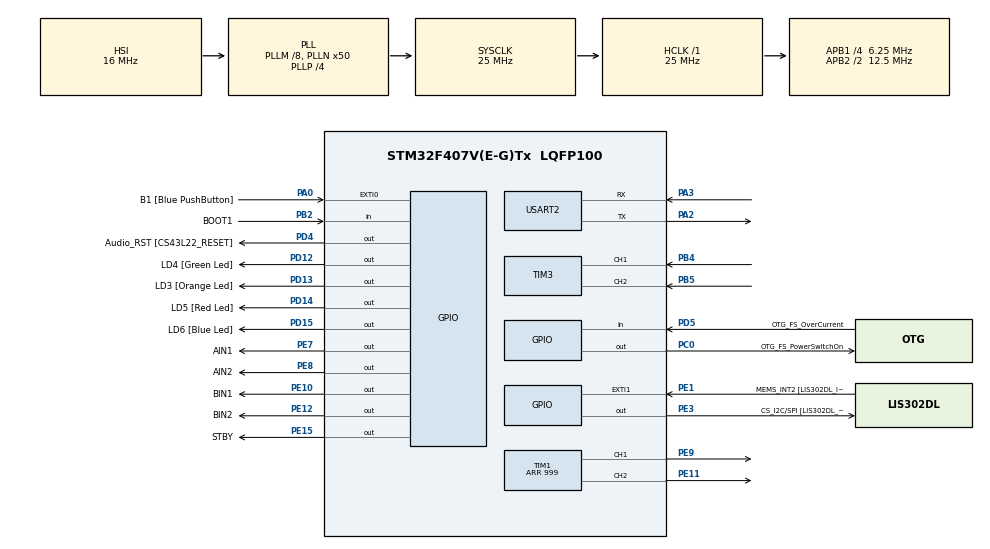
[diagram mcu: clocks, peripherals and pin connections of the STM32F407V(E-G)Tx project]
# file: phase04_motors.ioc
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Mcu.Family=STM32F4
Mcu.Name=STM32F407V(E-G)Tx
Mcu.Package=LQFP100
NVIC.PriorityGroup=NVIC_PRIORITYGROUP_0
PA0-WKUP.GPIO_Label=B1 [Blue PushButton]
PA0-WKUP.Signal=GPXTI0
PA10.GPIO_Label=OTG_FS_ID
PA10.GPIO_Mode=GPIO_MODE_AF_PP
PA10.GPIO_PuPd=GPIO_NOPULL
PA10.GPIO_Speed=GPIO_SPEED_FREQ_LOW
PA10.Signal=USB_OTG_FS_ID
PA11.GPIO_Label=OTG_FS_DM
PA11.GPIO_Mode=GPIO_MODE_AF_PP
PA11.GPIO_PuPd=GPIO_NOPULL
PA11.GPIO_Speed=GPIO_SPEED_FREQ_LOW
PA11.Signal=USB_OTG_FS_DM
PA12.GPIO_Label=OTG_FS_DP
PA12.GPIO_Mode=GPIO_MODE_AF_PP
PA12.GPIO_PuPd=GPIO_NOPULL
PA12.GPIO_Speed=GPIO_SPEED_FREQ_LOW
PA12.Signal=USB_OTG_FS_DP
PA13.GPIO_Label=SWDIO
PA13.Signal=SYS_JTMS-SWDIO
PA14.GPIO_Label=SWCLK
PA14.Signal=SYS_JTCK-SWCLK
PA2.Mode=Asynchronous
PA2.Signal=USART2_TX
PA3.Mode=Asynchronous
PA3.Signal=USART2_RX
PA4.GPIO_Label=I2S3_WS [CS43L22_LRCK]
PA4.GPIO_Mode=GPIO_MODE_AF_PP
PA4.GPIO_PuPd=GPIO_NOPULL
PA4.GPIO_Speed=GPIO_SPEED_FREQ_LOW
PA4.Signal=I2S3_WS
PA5.GPIO_Label=SPI1_SCK [LIS302DL_SCL/SPC]
PA5.GPIO_Mode=GPIO_MODE_AF_PP
PA5.GPIO_PuPd=GPIO_NOPULL
PA5.GPIO_Speed=GPIO_SPEED_FREQ_LOW
PA5.Signal=SPI1_SCK
PA6.GPIO_Label=SPI1_MISO [LIS302DL_SDO]
PA6.GPIO_Mode=GPIO_MODE_AF_PP
PA6.GPIO_PuPd=GPIO_NOPULL
PA6.GPIO_Speed=GPIO_SPEED_FREQ_LOW
PA6.Signal=SPI1_MISO
PA7.GPIO_Label=SPI1_MOSI [LIS302DL_SDA/SDI/SDO]
PA7.GPIO_Mode=GPIO_MODE_AF_PP
PA7.GPIO_PuPd=GPIO_NOPULL
PA7.GPIO_Speed=GPIO_SPEED_FREQ_LOW
PA7.Signal=SPI1_MOSI
PA9.GPIO_Label=VBUS_FS
PA9.GPIO_Mode=GPIO_MODE_INPUT
PA9.GPIO_PuPd=GPIO_NOPULL
PA9.Signal=USB_OTG_FS_VBUS
PB10.GPIO_Label=CLK_IN [MP45DT02_CLK]
PB10.GPIO_Mode=GPIO_MODE_AF_PP
PB10.GPIO_PuPd=GPIO_NOPULL
PB10.GPIO_Speed=GPIO_SPEED_FREQ_LOW
PB10.Signal=I2S2_CK
PB2.GPIO_Label=BOOT1
PB2.GPIO_Mode=GPIO_MODE_INPUT
PB2.GPIO_PuPd=GPIO_NOPULL
PB2.Signal=GPIO_Input
PB3.GPIO_Label=SWO
PB3.Signal=SYS_JTDO-SWO
PB4.Signal=S_TIM3_CH1
PB5.Signal=S_TIM3_CH2
PB6.GPIO_Label=Audio_SCL [CS43L22_SCL]
PB6.GPIO_Mode=GPIO_MODE_AF_OD
PB6.GPIO_PuPd=GPIO_NOPULL
PB6.GPIO_Speed=GPIO_SPEED_FREQ_LOW
PB6.Signal=I2C1_SCL
PB9.GPIO_Label=Audio_SDA [CS43L22_SDA]
PB9.GPIO_Mode=GPIO_MODE_AF_OD
PB9.GPIO_PuPd=GPIO_NOPULL
PB9.GPIO_Speed=GPIO_SPEED_FREQ_LOW
PB9.Signal=I2C1_SDA
PC0.GPIO_Label=OTG_FS_PowerSwitchOn
PC0.GPIO_PuPd=GPIO_NOPULL
PC0.GPIO_Speed=GPIO_SPEED_FREQ_LOW
PC0.PinState=GPIO_PIN_SET
PC0.Signal=GPIO_Output
PC10.GPIO_Label=I2S3_SCK [CS43L22_SCLK]
PC10.GPIO_Mode=GPIO_MODE_AF_PP
PC10.GPIO_PuPd=GPIO_NOPULL
PC10.GPIO_Speed=GPIO_SPEED_FREQ_LOW
PC10.Signal=I2S3_CK
PC12.GPIO_Label=I2S3_SD [CS43L22_SDIN]
PC12.GPIO_Mode=GPIO_MODE_AF_PP
PC12.GPIO_PuPd=GPIO_NOPULL
PC12.GPIO_Speed=GPIO_SPEED_FREQ_LOW
PC12.Signal=I2S3_SD
PC14-OSC32_IN.GPIO_Label=PC14-OSC32_IN
PC14-OSC32_IN.Signal=RCC_OSC32_IN
PC15-OSC32_OUT.GPIO_Label=PC15-OSC32_OUT
PC15-OSC32_OUT.Signal=RCC_OSC32_OUT
PC3.GPIO_Label=PDM_OUT [MP45DT02_DOUT]
PC3.GPIO_Mode=GPIO_MODE_AF_PP
PC3.GPIO_PuPd=GPIO_NOPULL
PC3.GPIO_Speed=GPIO_SPEED_FREQ_LOW
PC3.Signal=I2S2_SD
PC7.GPIO_Label=I2S3_MCK [CS43L22_MCLK]
PC7.GPIO_Mode=GPIO_MODE_AF_PP
PC7.GPIO_PuPd=GPIO_NOPULL
PC7.GPIO_Speed=GPIO_SPEED_FREQ_LOW
PC7.Signal=I2S3_MCK
PD12.GPIO_Label=LD4 [Green Led]
PD12.GPIO_PuPd=GPIO_NOPULL
PD12.GPIO_Speed=GPIO_SPEED_FREQ_LOW
PD12.Signal=GPIO_Output
PD13.GPIO_Label=LD3 [Orange Led]
PD13.GPIO_PuPd=GPIO_NOPULL
PD13.GPIO_Speed=GPIO_SPEED_FREQ_LOW
PD13.Signal=GPIO_Output
PD14.GPIO_Label=LD5 [Red Led]
PD14.GPIO_PuPd=GPIO_NOPULL
PD14.GPIO_Speed=GPIO_SPEED_FREQ_LOW
PD14.Signal=GPIO_Output
PD15.GPIO_Label=LD6 [Blue Led]
PD15.GPIO_PuPd=GPIO_NOPULL
PD15.GPIO_Speed=GPIO_SPEED_FREQ_LOW
PD15.Signal=GPIO_Output
PD4.GPIO_Label=Audio_RST [CS43L22_RESET]
PD4.GPIO_PuPd=GPIO_NOPULL
PD4.GPIO_Speed=GPIO_SPEED_FREQ_LOW
PD4.Signal=GPIO_Output
PD5.GPIO_Label=OTG_FS_OverCurrent
PD5.GPIO_Mode=GPIO_MODE_INPUT
PD5.GPIO_PuPd=GPIO_NOPULL
PD5.Signal=GPIO_Input
PE1.GPIO_Label=MEMS_INT2 [LIS302DL_INT2]
PE1.GPIO_ModeDefaultEXTI=GPIO_MODE_EVT_RISING
PE1.GPIO_PuPd=GPIO_NOPULL
PE1.Signal=GPXTI1
PE10.GPIO_Label=BIN1
PE10.Signal=GPIO_Output
PE11.Signal=S_TIM1_CH2
PE12.GPIO_Label=BIN2
PE12.Signal=GPIO_Output
PE15.GPIO_Label=STBY
PE15.Signal=GPIO_Output
PE3.GPIO_Label=CS_I2C/SPI [LIS302DL_CS_I2C/SPI]
PE3.GPIO_PuPd=GPIO_NOPULL
PE3.GPIO_Speed=GPIO_SPEED_FREQ_LOW
PE3.Signal=GPIO_Output
PE7.GPIO_Label=AIN1
PE7.Signal=GPIO_Output
PE8.GPIO_Label=AIN2
PE8.Signal=GPIO_Output
PE9.Signal=S_TIM1_CH1
PH0-OSC_IN.GPIO_Label=PH0-OSC_IN
PH0-OSC_IN.Signal=RCC_OSC_IN
PH1-OSC_OUT.GPIO_Label=PH1-OSC_OUT
PH1-OSC_OUT.Signal=RCC_OSC_OUT
ProjectManager.HeapSize=0x200
ProjectManager.StackSize=0x400
ProjectManager.TargetToolchain=STM32CubeIDE
RCC.48MHZClocksFreq_Value=14285714.285714285
RCC.AHBFreq_Value=25000000
RCC.APB1CLKDivider=RCC_HCLK_DIV4
RCC.APB1Freq_Value=6250000
RCC.APB1TimFreq_Value=12500000
RCC.APB2CLKDivider=RCC_HCLK_DIV2
RCC.APB2Freq_Value=12500000
RCC.APB2TimFreq_Value=25000000
RCC.CortexFreq_Value=25000000
RCC.HCLKFreq_Value=25000000
RCC.HSE_VALUE=8000000
RCC.HSI_VALUE=16000000
RCC.LSE_VALUE=32768
RCC.PLLM=8
RCC.PLLN=50
RCC.PLLP=RCC_PLLP_DIV4
RCC.PLLQ=7
RCC.SYSCLKFreq_VALUE=25000000
RCC.SYSCLKSource=RCC_SYSCLKSOURCE_PLLCLK
RCC.VCOOutputFreq_Value=100000000
SH.S_TIM1_CH1.0=TIM1_CH1,PWM Generation1 CH1
SH.S_TIM1_CH2.0=TIM1_CH2,PWM Generation2 CH2
SH.S_TIM3_CH1.0=TIM3_CH1,Encoder_Interface
SH.S_TIM3_CH2.0=TIM3_CH2,Encoder_Interface
TIM1.Channel-PWM\ Generation1\ CH1=TIM_CHANNEL_1
TIM1.Channel-PWM\ Generation2\ CH2=TIM_CHANNEL_2
TIM1.Period=999
TIM3.EncoderMode=TIM_ENCODERMODE_TI12
USART2.VirtualMode=VM_ASYNC
board=STM32F407G-DISC1

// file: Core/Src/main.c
/* USER CODE BEGIN Header */
/**
  ******************************************************************************
  * @file           : main.c
  * @brief          : Main program body
  ******************************************************************************
  * @attention
  *
  * Copyright (c) 2026 STMicroelectronics.
  * All rights reserved.
  *
  * This software is licensed under terms that can be found in the LICENSE file
  * in the root directory of this software component.
  * If no LICENSE file comes with this software, it is provided AS-IS.
  *
  ******************************************************************************
  */
/* USER CODE END Header */
#include "main.h"

/* USER CODE BEGIN Includes */
#include <stdio.h>
#include <string.h>
/* USER CODE END Includes */

TIM_HandleTypeDef htim1;
TIM_HandleTypeDef htim3;

UART_HandleTypeDef huart2;

void SystemClock_Config(void);
static void MX_GPIO_Init(void);
static void MX_TIM1_Init(void);
static void MX_TIM3_Init(void);
static void MX_USART2_UART_Init(void);

/* USER CODE BEGIN 0 */
// speed: -999..+999  (sign = direction, magnitude = PWM duty)
void motorA(int speed) {
    if (speed >= 0) {
        HAL_GPIO_WritePin(AIN1_GPIO_Port, AIN1_Pin, GPIO_PIN_SET);
        HAL_GPIO_WritePin(AIN2_GPIO_Port, AIN2_Pin, GPIO_PIN_RESET);
    } else {
        HAL_GPIO_WritePin(AIN1_GPIO_Port, AIN1_Pin, GPIO_PIN_RESET);
        HAL_GPIO_WritePin(AIN2_GPIO_Port, AIN2_Pin, GPIO_PIN_SET);
        speed = -speed;
    }
    if (speed > 999) speed = 999;
    __HAL_TIM_SET_COMPARE(&htim1, TIM_CHANNEL_1, speed);
}
void motorB(int speed) {
    if (speed >= 0) {
        HAL_GPIO_WritePin(BIN1_GPIO_Port, BIN1_Pin, GPIO_PIN_SET);
        HAL_GPIO_WritePin(BIN2_GPIO_Port, BIN2_Pin, GPIO_PIN_RESET);
    } else {
        HAL_GPIO_WritePin(BIN1_GPIO_Port, BIN1_Pin, GPIO_PIN_RESET);
        HAL_GPIO_WritePin(BIN2_GPIO_Port, BIN2_Pin, GPIO_PIN_SET);
        speed = -speed;
    }
    if (speed > 999) speed = 999;
    __HAL_TIM_SET_COMPARE(&htim1, TIM_CHANNEL_2, speed);
}
/* USER CODE END 0 */

int main(void)
{

  /* MCU Configuration--------------------------------------------------------*/

  /* Reset of all peripherals, Initializes the Flash interface and the Systick. */
  HAL_Init();

  /* Configure the system clock */
  SystemClock_Config();

  /* Initialize all configured peripherals */
  MX_GPIO_Init();
  MX_TIM1_Init();
  MX_TIM3_Init();
  MX_USART2_UART_Init();
  /* USER CODE BEGIN 2 */
  HAL_GPIO_WritePin(STBY_GPIO_Port, STBY_Pin, GPIO_PIN_SET);   // enable driver (critical!)
  HAL_TIM_PWM_Start(&htim1, TIM_CHANNEL_1);                    // PWM A
  HAL_TIM_PWM_Start(&htim1, TIM_CHANNEL_2);                    // PWM B
  HAL_TIM_Encoder_Start(&htim3, TIM_CHANNEL_ALL);              // encoder A counting
  char line[48];
  /* USER CODE END 2 */

  /* Infinite loop */
  while (1)
  {

    /* USER CODE BEGIN 3 */
    // forward ~2 s, printing every 200 ms
    motorA(300); motorB(300);
    for (int i = 0; i < 10; i++) {
        int16_t c = (int16_t)__HAL_TIM_GET_COUNTER(&htim3);
        sprintf(line, "FWD ENC: %d\r\n", c);
        HAL_UART_Transmit(&huart2, (uint8_t*)line, strlen(line), 100);
        HAL_Delay(200);
    }

    motorA(0); motorB(0); HAL_Delay(1000);   // stop

    // reverse ~2 s, printing every 200 ms
    motorA(-300); motorB(-300);
    for (int i = 0; i < 10; i++) {
        int16_t c = (int16_t)__HAL_TIM_GET_COUNTER(&htim3);
        sprintf(line, "REV ENC: %d\r\n", c);
        HAL_UART_Transmit(&huart2, (uint8_t*)line, strlen(line), 100);
        HAL_Delay(200);
    }

    motorA(0); motorB(0); HAL_Delay(1000);   // stop
  }
  /* USER CODE END 3 */
}
void SystemClock_Config(void)
{
  RCC_OscInitTypeDef RCC_OscInitStruct = {0};
  RCC_ClkInitTypeDef RCC_ClkInitStruct = {0};

  /** Configure the main internal regulator output voltage
  */
  __HAL_RCC_PWR_CLK_ENABLE();
  __HAL_PWR_VOLTAGESCALING_CONFIG(PWR_REGULATOR_VOLTAGE_SCALE1);

  /** Initializes the RCC Oscillators according to the specified parameters
  * in the RCC_OscInitTypeDef structure.
  */
  RCC_OscInitStruct.OscillatorType = RCC_OSCILLATORTYPE_HSI;
  RCC_OscInitStruct.HSIState = RCC_HSI_ON;
  RCC_OscInitStruct.HSICalibrationValue = RCC_HSICALIBRATION_DEFAULT;
  RCC_OscInitStruct.PLL.PLLState = RCC_PLL_ON;
  RCC_OscInitStruct.PLL.PLLSource = RCC_PLLSOURCE_HSI;
  RCC_OscInitStruct.PLL.PLLM = 8;
  RCC_OscInitStruct.PLL.PLLN = 50;
  RCC_OscInitStruct.PLL.PLLP = RCC_PLLP_DIV4;
  RCC_OscInitStruct.PLL.PLLQ = 7;
  if (HAL_RCC_OscConfig(&RCC_OscInitStruct) != HAL_OK)
  {
    Error_Handler();
  }

  /** Initializes the CPU, AHB and APB buses clocks
  */
  RCC_ClkInitStruct.ClockType = RCC_CLOCKTYPE_HCLK|RCC_CLOCKTYPE_SYSCLK
                              |RCC_CLOCKTYPE_PCLK1|RCC_CLOCKTYPE_PCLK2;
  RCC_ClkInitStruct.SYSCLKSource = RCC_SYSCLKSOURCE_PLLCLK;
  RCC_ClkInitStruct.AHBCLKDivider = RCC_SYSCLK_DIV1;
  RCC_ClkInitStruct.APB1CLKDivider = RCC_HCLK_DIV4;
  RCC_ClkInitStruct.APB2CLKDivider = RCC_HCLK_DIV2;

  if (HAL_RCC_ClockConfig(&RCC_ClkInitStruct, FLASH_LATENCY_0) != HAL_OK)
  {
    Error_Handler();
  }
}

static void MX_TIM1_Init(void)
{

  TIM_MasterConfigTypeDef sMasterConfig = {0};
  TIM_OC_InitTypeDef sConfigOC = {0};
  TIM_BreakDeadTimeConfigTypeDef sBreakDeadTimeConfig = {0};

  htim1.Instance = TIM1;
  htim1.Init.Prescaler = 0;
  htim1.Init.CounterMode = TIM_COUNTERMODE_UP;
  htim1.Init.Period = 999;
  htim1.Init.ClockDivision = TIM_CLOCKDIVISION_DIV1;
  htim1.Init.RepetitionCounter = 0;
  htim1.Init.AutoReloadPreload = TIM_AUTORELOAD_PRELOAD_DISABLE;
  if (HAL_TIM_PWM_Init(&htim1) != HAL_OK)
  {
    Error_Handler();
  }
  sMasterConfig.MasterOutputTrigger = TIM_TRGO_RESET;
  sMasterConfig.MasterSlaveMode = TIM_MASTERSLAVEMODE_DISABLE;
  if (HAL_TIMEx_MasterConfigSynchronization(&htim1, &sMasterConfig) != HAL_OK)
  {
    Error_Handler();
  }
  sConfigOC.OCMode = TIM_OCMODE_PWM1;
  sConfigOC.Pulse = 0;
  sConfigOC.OCPolarity = TIM_OCPOLARITY_HIGH;
  sConfigOC.OCNPolarity = TIM_OCNPOLARITY_HIGH;
  sConfigOC.OCFastMode = TIM_OCFAST_DISABLE;
  sConfigOC.OCIdleState = TIM_OCIDLESTATE_RESET;
  sConfigOC.OCNIdleState = TIM_OCNIDLESTATE_RESET;
  if (HAL_TIM_PWM_ConfigChannel(&htim1, &sConfigOC, TIM_CHANNEL_1) != HAL_OK)
  {
    Error_Handler();
  }
  if (HAL_TIM_PWM_ConfigChannel(&htim1, &sConfigOC, TIM_CHANNEL_2) != HAL_OK)
  {
    Error_Handler();
  }
  sBreakDeadTimeConfig.OffStateRunMode = TIM_OSSR_DISABLE;
  sBreakDeadTimeConfig.OffStateIDLEMode = TIM_OSSI_DISABLE;
  sBreakDeadTimeConfig.LockLevel = TIM_LOCKLEVEL_OFF;
  sBreakDeadTimeConfig.DeadTime = 0;
  sBreakDeadTimeConfig.BreakState = TIM_BREAK_DISABLE;
  sBreakDeadTimeConfig.BreakPolarity = TIM_BREAKPOLARITY_HIGH;
  sBreakDeadTimeConfig.AutomaticOutput = TIM_AUTOMATICOUTPUT_DISABLE;
  if (HAL_TIMEx_ConfigBreakDeadTime(&htim1, &sBreakDeadTimeConfig) != HAL_OK)
  {
    Error_Handler();
  }
  HAL_TIM_MspPostInit(&htim1);

}

static void MX_TIM3_Init(void)
{

  TIM_Encoder_InitTypeDef sConfig = {0};
  TIM_MasterConfigTypeDef sMasterConfig = {0};

  htim3.Instance = TIM3;
  htim3.Init.Prescaler = 0;
  htim3.Init.CounterMode = TIM_COUNTERMODE_UP;
  htim3.Init.Period = 65535;
  htim3.Init.ClockDivision = TIM_CLOCKDIVISION_DIV1;
  htim3.Init.AutoReloadPreload = TIM_AUTORELOAD_PRELOAD_DISABLE;
  sConfig.EncoderMode = TIM_ENCODERMODE_TI12;
  sConfig.IC1Polarity = TIM_ICPOLARITY_RISING;
  sConfig.IC1Selection = TIM_ICSELECTION_DIRECTTI;
  sConfig.IC1Prescaler = TIM_ICPSC_DIV1;
  sConfig.IC1Filter = 0;
  sConfig.IC2Polarity = TIM_ICPOLARITY_RISING;
  sConfig.IC2Selection = TIM_ICSELECTION_DIRECTTI;
  sConfig.IC2Prescaler = TIM_ICPSC_DIV1;
  sConfig.IC2Filter = 0;
  if (HAL_TIM_Encoder_Init(&htim3, &sConfig) != HAL_OK)
  {
    Error_Handler();
  }
  sMasterConfig.MasterOutputTrigger = TIM_TRGO_RESET;
  sMasterConfig.MasterSlaveMode = TIM_MASTERSLAVEMODE_DISABLE;
  if (HAL_TIMEx_MasterConfigSynchronization(&htim3, &sMasterConfig) != HAL_OK)
  {
    Error_Handler();
  }

}

static void MX_USART2_UART_Init(void)
{

  huart2.Instance = USART2;
  huart2.Init.BaudRate = 115200;
  huart2.Init.WordLength = UART_WORDLENGTH_8B;
  huart2.Init.StopBits = UART_STOPBITS_1;
  huart2.Init.Parity = UART_PARITY_NONE;
  huart2.Init.Mode = UART_MODE_TX_RX;
  huart2.Init.HwFlowCtl = UART_HWCONTROL_NONE;
  huart2.Init.OverSampling = UART_OVERSAMPLING_16;
  if (HAL_UART_Init(&huart2) != HAL_OK)
  {
    Error_Handler();
  }

}

static void MX_GPIO_Init(void)
{
  GPIO_InitTypeDef GPIO_InitStruct = {0};

  /* GPIO Ports Clock Enable */
  __HAL_RCC_GPIOE_CLK_ENABLE();
  __HAL_RCC_GPIOC_CLK_ENABLE();
  __HAL_RCC_GPIOH_CLK_ENABLE();
  __HAL_RCC_GPIOA_CLK_ENABLE();
  __HAL_RCC_GPIOB_CLK_ENABLE();
  __HAL_RCC_GPIOD_CLK_ENABLE();

  /*Configure GPIO pin Output Level */
  HAL_GPIO_WritePin(GPIOE, CS_I2C_SPI_Pin|AIN1_Pin|AIN2_Pin|BIN1_Pin
                          |BIN2_Pin|STBY_Pin, GPIO_PIN_RESET);

  /*Configure GPIO pin Output Level */
  HAL_GPIO_WritePin(OTG_FS_PowerSwitchOn_GPIO_Port, OTG_FS_PowerSwitchOn_Pin, GPIO_PIN_SET);

  /*Configure GPIO pin Output Level */
  HAL_GPIO_WritePin(GPIOD, LD4_Pin|LD3_Pin|LD5_Pin|LD6_Pin
                          |Audio_RST_Pin, GPIO_PIN_RESET);

  /*Configure GPIO pins : CS_I2C_SPI_Pin AIN1_Pin AIN2_Pin BIN1_Pin
                           BIN2_Pin STBY_Pin */
  GPIO_InitStruct.Pin = CS_I2C_SPI_Pin|AIN1_Pin|AIN2_Pin|BIN1_Pin
                          |BIN2_Pin|STBY_Pin;
  GPIO_InitStruct.Mode = GPIO_MODE_OUTPUT_PP;
  GPIO_InitStruct.Pull = GPIO_NOPULL;
  GPIO_InitStruct.Speed = GPIO_SPEED_FREQ_LOW;
  HAL_GPIO_Init(GPIOE, &GPIO_InitStruct);

  /*Configure GPIO pin : OTG_FS_PowerSwitchOn_Pin */
  GPIO_InitStruct.Pin = OTG_FS_PowerSwitchOn_Pin;
  GPIO_InitStruct.Mode = GPIO_MODE_OUTPUT_PP;
  GPIO_InitStruct.Pull = GPIO_NOPULL;
  GPIO_InitStruct.Speed = GPIO_SPEED_FREQ_LOW;
  HAL_GPIO_Init(OTG_FS_PowerSwitchOn_GPIO_Port, &GPIO_InitStruct);

  /*Configure GPIO pin : PDM_OUT_Pin */
  GPIO_InitStruct.Pin = PDM_OUT_Pin;
  GPIO_InitStruct.Mode = GPIO_MODE_AF_PP;
  GPIO_InitStruct.Pull = GPIO_NOPULL;
  GPIO_InitStruct.Speed = GPIO_SPEED_FREQ_LOW;
  GPIO_InitStruct.Alternate = GPIO_AF5_SPI2;
  HAL_GPIO_Init(PDM_OUT_GPIO_Port, &GPIO_InitStruct);

  /*Configure GPIO pin : B1_Pin */
  GPIO_InitStruct.Pin = B1_Pin;
  GPIO_InitStruct.Mode = GPIO_MODE_IT_RISING;
  GPIO_InitStruct.Pull = GPIO_NOPULL;
  HAL_GPIO_Init(B1_GPIO_Port, &GPIO_InitStruct);

  /*Configure GPIO pin : I2S3_WS_Pin */
  GPIO_InitStruct.Pin = I2S3_WS_Pin;
  GPIO_InitStruct.Mode = GPIO_MODE_AF_PP;
  GPIO_InitStruct.Pull = GPIO_NOPULL;
  GPIO_InitStruct.Speed = GPIO_SPEED_FREQ_LOW;
  GPIO_InitStruct.Alternate = GPIO_AF6_SPI3;
  HAL_GPIO_Init(I2S3_WS_GPIO_Port, &GPIO_InitStruct);

  /*Configure GPIO pins : SPI1_SCK_Pin SPI1_MISO_Pin SPI1_MOSI_Pin */
  GPIO_InitStruct.Pin = SPI1_SCK_Pin|SPI1_MISO_Pin|SPI1_MOSI_Pin;
  GPIO_InitStruct.Mode = GPIO_MODE_AF_PP;
  GPIO_InitStruct.Pull = GPIO_NOPULL;
  GPIO_InitStruct.Speed = GPIO_SPEED_FREQ_LOW;
  GPIO_InitStruct.Alternate = GPIO_AF5_SPI1;
  HAL_GPIO_Init(GPIOA, &GPIO_InitStruct);

  /*Configure GPIO pin : BOOT1_Pin */
  GPIO_InitStruct.Pin = BOOT1_Pin;
  GPIO_InitStruct.Mode = GPIO_MODE_INPUT;
  GPIO_InitStruct.Pull = GPIO_NOPULL;
  HAL_GPIO_Init(BOOT1_GPIO_Port, &GPIO_InitStruct);

  /*Configure GPIO pin : CLK_IN_Pin */
  GPIO_InitStruct.Pin = CLK_IN_Pin;
  GPIO_InitStruct.Mode = GPIO_MODE_AF_PP;
  GPIO_InitStruct.Pull = GPIO_NOPULL;
  GPIO_InitStruct.Speed = GPIO_SPEED_FREQ_LOW;
  GPIO_InitStruct.Alternate = GPIO_AF5_SPI2;
  HAL_GPIO_Init(CLK_IN_GPIO_Port, &GPIO_InitStruct);

  /*Configure GPIO pins : LD4_Pin LD3_Pin LD5_Pin LD6_Pin
                           Audio_RST_Pin */
  GPIO_InitStruct.Pin = LD4_Pin|LD3_Pin|LD5_Pin|LD6_Pin
                          |Audio_RST_Pin;
  GPIO_InitStruct.Mode = GPIO_MODE_OUTPUT_PP;
  GPIO_InitStruct.Pull = GPIO_NOPULL;
  GPIO_InitStruct.Speed = GPIO_SPEED_FREQ_LOW;
  HAL_GPIO_Init(GPIOD, &GPIO_InitStruct);

  /*Configure GPIO pins : I2S3_MCK_Pin I2S3_SCK_Pin I2S3_SD_Pin */
  GPIO_InitStruct.Pin = I2S3_MCK_Pin|I2S3_SCK_Pin|I2S3_SD_Pin;
  GPIO_InitStruct.Mode = GPIO_MODE_AF_PP;
  GPIO_InitStruct.Pull = GPIO_NOPULL;
  GPIO_InitStruct.Speed = GPIO_SPEED_FREQ_LOW;
  GPIO_InitStruct.Alternate = GPIO_AF6_SPI3;
  HAL_GPIO_Init(GPIOC, &GPIO_InitStruct);

  /*Configure GPIO pin : VBUS_FS_Pin */
  GPIO_InitStruct.Pin = VBUS_FS_Pin;
  GPIO_InitStruct.Mode = GPIO_MODE_INPUT;
  GPIO_InitStruct.Pull = GPIO_NOPULL;
  HAL_GPIO_Init(VBUS_FS_GPIO_Port, &GPIO_InitStruct);

  /*Configure GPIO pins : OTG_FS_ID_Pin OTG_FS_DM_Pin OTG_FS_DP_Pin */
  GPIO_InitStruct.Pin = OTG_FS_ID_Pin|OTG_FS_DM_Pin|OTG_FS_DP_Pin;
  GPIO_InitStruct.Mode = GPIO_MODE_AF_PP;
  GPIO_InitStruct.Pull = GPIO_NOPULL;
  GPIO_InitStruct.Speed = GPIO_SPEED_FREQ_LOW;
  GPIO_InitStruct.Alternate = GPIO_AF10_OTG_FS;
  HAL_GPIO_Init(GPIOA, &GPIO_InitStruct);

  /*Configure GPIO pin : OTG_FS_OverCurrent_Pin */
  GPIO_InitStruct.Pin = OTG_FS_OverCurrent_Pin;
  GPIO_InitStruct.Mode = GPIO_MODE_INPUT;
  GPIO_InitStruct.Pull = GPIO_NOPULL;
  HAL_GPIO_Init(OTG_FS_OverCurrent_GPIO_Port, &GPIO_InitStruct);

  /*Configure GPIO pins : Audio_SCL_Pin Audio_SDA_Pin */
  GPIO_InitStruct.Pin = Audio_SCL_Pin|Audio_SDA_Pin;
  GPIO_InitStruct.Mode = GPIO_MODE_AF_OD;
  GPIO_InitStruct.Pull = GPIO_NOPULL;
  GPIO_InitStruct.Speed = GPIO_SPEED_FREQ_LOW;
  GPIO_InitStruct.Alternate = GPIO_AF4_I2C1;
  HAL_GPIO_Init(GPIOB, &GPIO_InitStruct);

  /*Configure GPIO pin : MEMS_INT2_Pin */
  GPIO_InitStruct.Pin = MEMS_INT2_Pin;
  GPIO_InitStruct.Mode = GPIO_MODE_EVT_RISING;
  GPIO_InitStruct.Pull = GPIO_NOPULL;
  HAL_GPIO_Init(MEMS_INT2_GPIO_Port, &GPIO_InitStruct);

}

void Error_Handler(void)
{
  __disable_irq();
  while (1)
  {
  }
}
